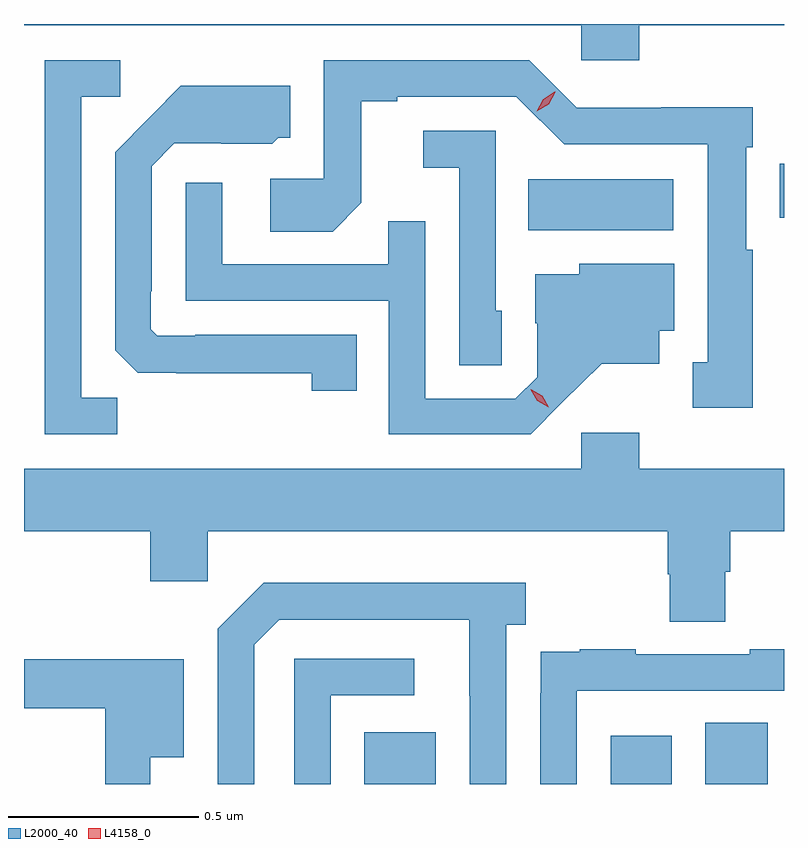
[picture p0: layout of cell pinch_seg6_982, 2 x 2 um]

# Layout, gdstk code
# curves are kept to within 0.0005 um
import gdstk
lib = gdstk.Library(unit=1e-6, precision=1e-09)
def R(c, l, rs):  # rectangles x0, y0, x1, y1
    for r in rs: c.add(gdstk.rectangle(r[:2], r[2:], *l))
def P(c, l, *ps):  # polygons
    for p in ps: c.add(gdstk.Polygon(p, *l))
L2000_40 = (2000, 40)
L4158_0 = (4158, 0)

pinch_seg6_982 = lib.new_cell('pinch_seg6_982')
R(pinch_seg6_982, L2000_40, [(331.187,937.347,331.375,937.483), (331.835,937.347,331.996,937.474), (332.084,937.347,332.248,937.508), (331.618,938.804,331.999,938.938), (332.28,938.837,332.291,938.979)])
P(pinch_seg6_982, L2000_40, [(331.91,939.344),(332.291,939.344),(332.291,939.347),(330.291,939.347),(330.291,939.344),(331.758,939.344),(331.758,939.251),(331.91,939.251)],
  [(330.537,938.363),(330.441,938.363),(330.441,939.156),(330.544,939.156),(330.544,939.252),(330.345,939.252),(330.345,938.268),(330.537,938.268)],
  [(332.209,938.753),(332.191,938.753),(332.191,939.023),(332.209,939.023),(332.209,939.128),(331.968,939.128),(331.968,939.126),(331.746,939.126),(331.62,939.252),(331.08,939.252),(331.08,938.94),(330.939,938.94),(330.939,938.8),(331.103,938.8),(331.179,938.876),(331.179,939.144),(331.273,939.144),(331.273,939.156),(331.587,939.156),(331.713,939.03),(332.09,939.03),(332.09,938.457),(332.051,938.457),(332.051,938.337),(332.209,938.337)],
  [(331.166,938.529),(330.742,938.529),(330.742,938.526),(330.642,938.526),(330.624,938.544),(330.624,938.644),(330.627,938.644),(330.627,938.973),(330.687,939.033),(330.81,939.033),(330.81,939.032),(330.944,939.032),(330.96,939.048),(330.991,939.048),(330.991,939.184),(330.703,939.184),(330.531,939.01),(330.531,938.488),(330.59,938.429),(330.691,938.429),(330.691,938.428),(331.048,938.428),(331.048,938.382),(331.166,938.382)],
  [(331.548,938.592),(331.533,938.592),(331.533,939.066),(331.341,939.066),(331.341,938.969),(331.437,938.969),(331.437,938.449),(331.548,938.449)],
  [(331.708,938.351),(331.811,938.453),(331.963,938.453),(331.963,938.54),(332.002,938.54),(332.002,938.716),(331.752,938.716),(331.752,938.689),(331.637,938.689),(331.637,938.56),(331.641,938.56),(331.641,938.418),(331.584,938.361),(331.347,938.361),(331.347,938.828),(331.249,938.828),(331.249,938.715),(330.813,938.715),(330.813,938.929),(330.717,938.929),(330.717,938.619),(331.251,938.619),(331.251,938.268),(331.624,938.268)],
  [(332.137,937.906),(332.15,937.906),(332.15,938.012),(332.291,938.012),(332.291,938.176),(331.91,938.176),(331.91,938.272),(331.758,938.272),(331.758,938.176),(330.291,938.176),(330.291,938.012),(330.623,938.012),(330.623,937.881),(330.774,937.881),(330.774,938.012),(331.985,938.012),(331.985,937.899),(331.99,937.899),(331.99,937.774),(332.137,937.774)],
  [(330.897,937.713),(330.963,937.779),(331.463,937.779),(331.463,937.579),(331.464,937.579),(331.464,937.347),(331.56,937.347),(331.56,937.766),(331.612,937.766),(331.612,937.876),(330.922,937.876),(330.801,937.755),(330.801,937.347),(330.897,937.347)],
  [(331.746,937.593),(332.291,937.593),(332.291,937.702),(332.201,937.702),(332.201,937.689),(331.901,937.689),(331.901,937.702),(331.753,937.702),(331.753,937.695),(331.651,937.695),(331.651,937.586),(331.65,937.586),(331.65,937.347),(331.746,937.347)],
  [(331.098,937.581),(331.318,937.581),(331.318,937.677),(331.002,937.677),(331.002,937.347),(331.098,937.347)],
  [(330.623,937.418),(330.712,937.418),(330.712,937.675),(330.291,937.675),(330.291,937.546),(330.505,937.546),(330.505,937.347),(330.623,937.347)])
P(pinch_seg6_982, L4158_0, [(331.64,939.117),(331.64,939.117),(331.657,939.149),(331.688,939.169),(331.689,939.169),(331.689,939.168),(331.672,939.136),(331.64,939.117)],
  [(331.672,938.339),(331.641,938.355),(331.624,938.385),(331.624,938.386),(331.625,938.386),(331.655,938.369),(331.672,938.339),(331.672,938.339)])

lib.write_gds('pinch_seg6_982.gds')
